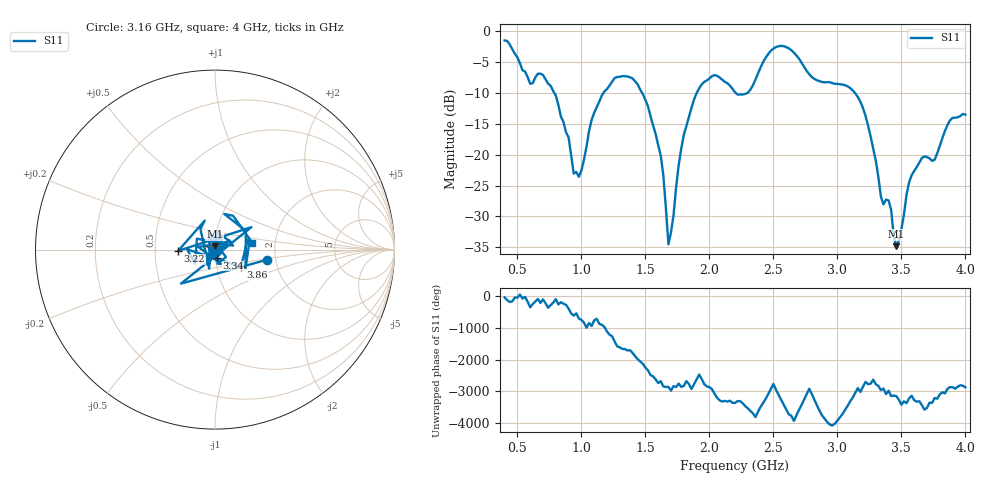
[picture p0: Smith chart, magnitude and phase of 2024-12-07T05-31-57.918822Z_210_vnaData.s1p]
!Created with skrf (http://scikit-rf.org).
# Hz S RI R 50.0
!freq ReS11 ImS11
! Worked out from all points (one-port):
!   181 points, 400 MHz to 4 GHz, reference 50 ohm
!   lowest |S11| = -34.8 dB at 3.46 GHz (marker M1), VSWR 1.04, Z = 49.8 + j1.8 ohm
!   |S11| at or under -10 dB: 788.3 MHz to 1.172 GHz (383.7 MHz wide, 39.1 % of centre); 1.475 GHz to 1.9 GHz (425.6 MHz wide, 25.2 % of centre); 3.137 GHz to end of sweep (the widest 3 of 4)
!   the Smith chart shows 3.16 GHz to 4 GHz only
!   S11 on the Smith chart (normalised r, x): 3.16 GHz: 1.79, -0.22; 3.22 GHz: 0.66, -0.01; 3.34 GHz: 1.01, -0.09; 3.86 GHz: 1.31, -0.26; 4 GHz: 1.52, +0.12
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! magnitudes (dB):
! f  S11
! 400 MHz  -1.5
! 600 MHz  -8.5
! 700 MHz  -7.1
! 860 MHz  -14.7
! 940 MHz  -23.1
! 980 MHz  -23.6
! 1.1 GHz  -13.2
! 1.3 GHz  -7.4
! 1.52 GHz  -12.2
! 1.62 GHz  -20.2
! 1.68 GHz  -34.5
! 1.76 GHz  -21.7
! 1.94 GHz  -8.6
! 2.2 GHz  -9.9
! 2.3 GHz  -10.0
! 2.5 GHz  -2.8
! 2.66 GHz  -3.5
! 2.82 GHz  -7.7
! 3.1 GHz  -9.2
! 3.16 GHz  -10.7
! 3.22 GHz  -13.7
! 3.34 GHz  -26.8
! 3.4 GHz  -27.4
! 3.46 GHz  -34.8
! 3.56 GHz  -24.5
! 3.76 GHz  -20.8
! 3.86 GHz  -15.2
! 4 GHz  -13.5
